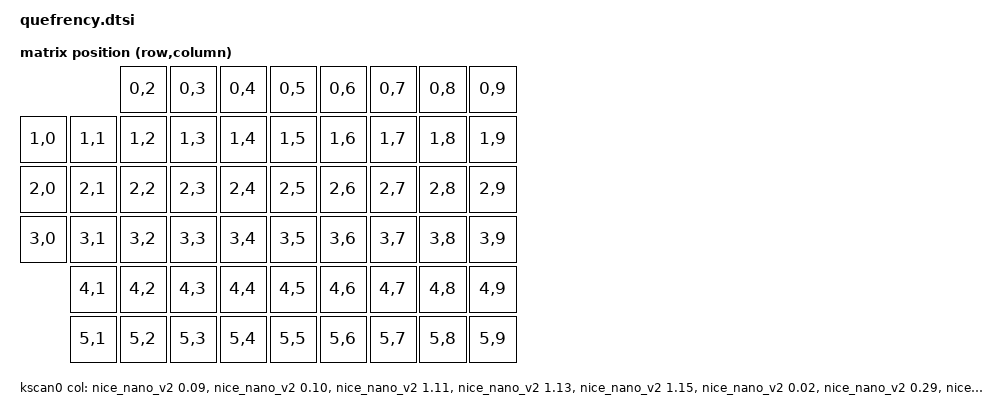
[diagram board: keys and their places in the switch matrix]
#include <dt-bindings/zmk/matrix_transform.h>

/ {
    chosen {
        zmk,kscan = &kscan0;
        zmk,matrix_transform = &default_transform;
    };

    default_transform: keymap_transform_0 {
        compatible = "zmk,matrix-transform";
        columns = <10>;
        rows = <6>;
// ------------------------------------------------------------------------------------------------------------------------------------------
// |  NA  |  NA  | MAC1 | MAC2 | |  ESC | F1  | F2  | F3  | F4  | F5  |        | F6  | F7  | F8  | F9  | F10 | F11 | F12 | DEL |  NA |  NA  |
// | Num- | Num* | Num/ | NumL | |   ~  |  1  |  2  |  3  |  4  |  5  |        |  6  |  7  |  8  |  9  |  0  |  -  |  =  |BCKSP|  NA | HOME |
// | Num+ | Num9 | Num8 | Num7 | |  TAB |  Q  |  W  |  E  |  R  |  T  |        |  Y  |  U  |  I  |  O  |  P  |  [  |  ]  |  \  |  NA | PGUP |
// | NumE | Num6 | Num5 | Num4 | | CAPS |  A  |  S  |  D  |  F  |  G  |        |  H  |  J  |  K  |  L  |  ;  |  '  |R-ENT|  NA |  NA | PGDN |
// |  NA  | Num3 | Num2 | Num1 | |SHIFT |  Z  |  X  |  C  |  V  |  B  |        |  N  |  M  |  ,  |  .  |  /  |R-SHT|  NA |  NA | UP  |  END |
// |  NA  | Num. | Num0 |  NA  | | CTRL | WIN | ALT | SPA | MAC3| MAC4|        | SPA | MAC5| MAC6|  NA |R-ALT|R-WIN|RCTRL| LEFT| DWN | RIGHT|
// ------------------------------------------------------------------------------------------------------------------------------------------
        map = <
                RC(0,2) RC(0,3)  RC(0,4) RC(0,5) RC(0,6) RC(0,7) RC(0,8) RC(0,9)    
RC(1,0) RC(1,1) RC(1,2) RC(1,3)  RC(1,4) RC(1,5) RC(1,6) RC(1,7) RC(1,8) RC(1,9) 
RC(2,0) RC(2,1) RC(2,2) RC(2,3)  RC(2,4) RC(2,5) RC(2,6) RC(2,7) RC(2,8) RC(2,9)    
RC(3,0) RC(3,1) RC(3,2) RC(3,3)  RC(3,4) RC(3,5) RC(3,6) RC(3,7) RC(3,8) RC(3,9)   
        RC(4,1) RC(4,2) RC(4,3)  RC(4,4) RC(4,5) RC(4,6) RC(4,7) RC(4,8) RC(4,9)   
        RC(5,1) RC(5,2) RC(5,3)  RC(5,4) RC(5,5) RC(5,6) RC(5,7) RC(5,8) RC(5,9) 
        >;
    };

    kscan0: kscan {
        compatible = "zmk,kscan-gpio-matrix";
        label = "KSCAN";

        diode-direction = "col2row";
        
        col-gpios
            = <&nice_nano_v2 0.09 GPIO_ACTIVE_HIGH>
            , <&nice_nano_v2 0.10 GPIO_ACTIVE_HIGH>
            , <&nice_nano_v2 1.11 GPIO_ACTIVE_HIGH>
            , <&nice_nano_v2 1.13 GPIO_ACTIVE_HIGH>
            , <&nice_nano_v2 1.15 GPIO_ACTIVE_HIGH>
            , <&nice_nano_v2 0.02 GPIO_ACTIVE_HIGH>
            , <&nice_nano_v2 0.29 GPIO_ACTIVE_HIGH>
            , <&nice_nano_v2 0.31 GPIO_ACTIVE_HIGH>
            , <&nice_nano_v2 1.04 GPIO_ACTIVE_HIGH>
            , <&nice_nano_v2 1.06 GPIO_ACTIVE_HIGH>

        row-gpios
            = <&nice_nano_v2 0.17 (GPIO_ACTIVE_HIGH | GPIO_PULL_DOWN)> // Row A from the schematic file
            , <&nice_nano_v2 0.20 (GPIO_ACTIVE_HIGH | GPIO_PULL_DOWN)> // Row B from the schematic file
            , <&nice_nano_v2 0.22 (GPIO_ACTIVE_HIGH | GPIO_PULL_DOWN)> // Row C from the schematic file
            , <&nice_nano_v2 0.24 (GPIO_ACTIVE_HIGH | GPIO_PULL_DOWN)> // Row D from the schematic file
            , <&nice_nano_v2 1.00 (GPIO_ACTIVE_HIGH | GPIO_PULL_DOWN)> // Row E from the schematic file
            , <&nice_nano_v2 0.11 (GPIO_ACTIVE_HIGH | GPIO_PULL_DOWN)> // Row E from the schematic file
            ;

    };
};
